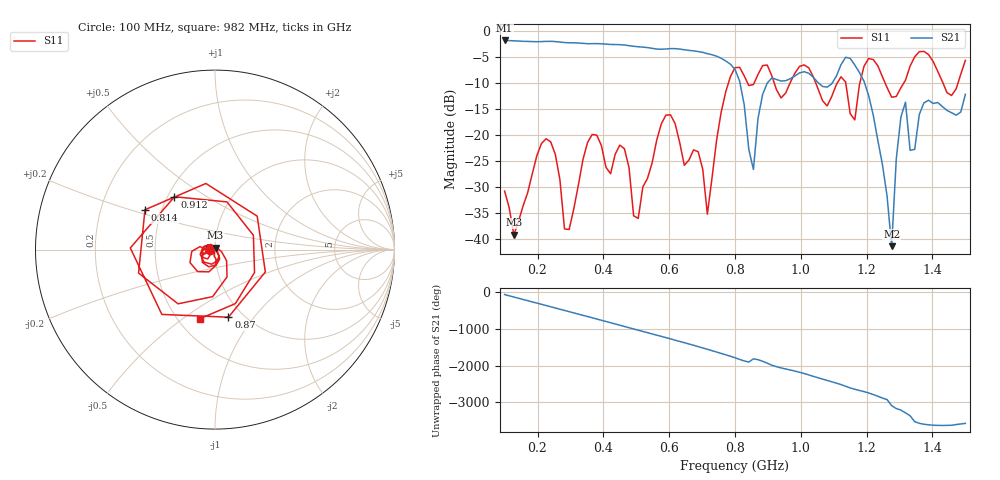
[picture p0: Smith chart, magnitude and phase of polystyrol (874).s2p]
! NanoVNA-App
! Date: 2025-09-25 15:36:41
! Start: 100MHz Stop: 1,5GHz Points: 101
! S-Parameter data: F S11 S21 S12 S22
# Hz S RI R 50
!  Frequency  S11_Real  S11_Imag  S21_Real  S21_Imag  S12_Real  S12_Imag  S22_Real  S22_Imag
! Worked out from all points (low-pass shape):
!   101 points, 100 MHz to 1.5 GHz, reference 50 ohm
!   highest |S21| = -1.80 dB at 100 MHz (marker M1); lowest = -41.3 dB at 1.276 GHz (marker M2)
!   |S21| within 3 dB of the highest: start of sweep to 743.2 MHz
!   lowest |S11| = -39.1 dB at 128 MHz (marker M3), VSWR 1.02, Z = 50.3 + j1.06 ohm
!   |S11| at or under -10 dB: start of sweep to 779.9 MHz; 1.046 GHz to 1.11 GHz (64.94 MHz wide, 6.02 % of centre); 1.256 GHz to 1.313 GHz (56.25 MHz wide, 4.38 % of centre)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
!   S12 and S22 are empty: the file has one direction only
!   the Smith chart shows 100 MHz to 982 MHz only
!   S11 on the Smith chart (normalised r, x): 100 MHz: 0.94, -0.01; 814 MHz: 0.40, +0.22; 870 MHz: 0.85, -0.75; 912 MHz: 0.54, +0.37; 982 MHz: 0.64, -0.58
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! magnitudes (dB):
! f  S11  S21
! 100 MHz  -30.7  -1.8
! 128 MHz  -39.1  -1.9
! 212 MHz  -21.6  -2.0
! 282 MHz  -38.0  -2.2
! 338 MHz  -24.7  -2.4
! 464 MHz  -22.6  -2.7
! 506 MHz  -36.0  -3.0
! 576 MHz  -17.8  -3.5
! 716 MHz  -35.2  -4.3
! 800 MHz  -7.0  -7.3
! 814 MHz  -7.0  -9.6
! 856 MHz  -10.3  -26.6
! 870 MHz  -8.3  -16.7
! 912 MHz  -8.6  -9.0
! 982 MHz  -8.1  -8.6
! 1.038 GHz  -8.8  -8.9
! 1.164 GHz  -17.1  -6.5
! 1.192 GHz  -6.8  -9.6
! 1.276 GHz  -12.7  -41.3
! 1.318 GHz  -9.4  -13.6
! 1.332 GHz  -6.7  -22.9
! 1.5 GHz  -5.6  -12.1
